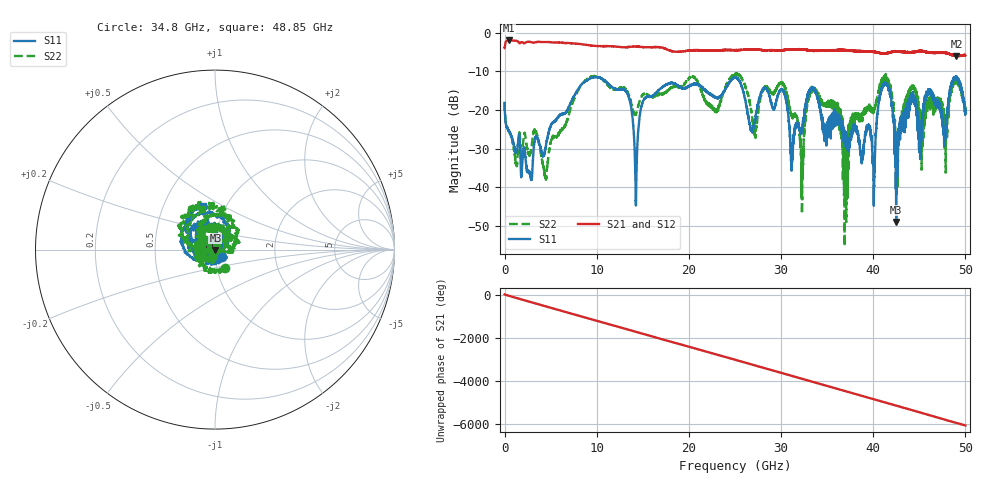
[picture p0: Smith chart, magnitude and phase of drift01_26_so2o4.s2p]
!Created with skrf (http://scikit-rf.org).
# Hz S RI R 50.0
!freq ReS11 ImS11 ReS21 ImS21 ReS12 ImS12 ReS22 ImS22
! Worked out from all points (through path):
!   10001 points, 300 kHz to 50 GHz, reference 50 ohm
!   highest |S21| = -2.00 dB at 490.3 MHz (marker M1); lowest = -6.1 dB at 49.04 GHz (marker M2)
!   group delay of S21, straight-line fit = 336 ps
!   lowest |S11| = -49.1 dB at 42.5 GHz (marker M3), VSWR 1.01, Z = 50.3 - j0.246 ohm
!   |S11| at or under -10 dB: start of sweep to end of sweep
!   |S22| runs from -55.3 to -10.5 dB; largest |S21 - S12| = 0.019
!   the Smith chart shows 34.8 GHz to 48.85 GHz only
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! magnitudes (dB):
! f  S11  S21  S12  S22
! 300 kHz  -18.2  -3.9  -4.0  -17.9
! 490.3 MHz  -25.6  -2.0  -2.0  -25.5
! 4.435 GHz  -29.9  -2.4  -2.4  -37.3
! 8.335 GHz  -13.4  -3.0  -3.0  -13.5
! 13.17 GHz  -15.1  -3.7  -3.7  -14.6
! 14.25 GHz  -43.3  -3.6  -3.6  -21.1
! 16.67 GHz  -15.0  -3.7  -3.7  -15.9
! 25 GHz  -11.6  -4.5  -4.6  -10.9
! 27.15 GHz  -22.7  -4.3  -4.3  -25.8
! 30.2 GHz  -15.1  -4.5  -4.5  -13.3
! 31.14 GHz  -32.6  -4.3  -4.3  -21.3
! 32.25 GHz  -24.9  -4.3  -4.3  -40.4
! 33.34 GHz  -14.3  -4.7  -4.6  -14.6
! 36.04 GHz  -22.3  -4.6  -4.6  -21.5
! 37.03 GHz  -26.9  -4.5  -4.6  -31.0
! 40.06 GHz  -42.2  -4.9  -5.0  -20.3
! 41.67 GHz  -14.4  -5.1  -5.2  -13.0
! 42.5 GHz  -49.1  -4.9  -4.9  -28.9
! 44.14 GHz  -16.9  -5.0  -5.1  -14.4
! 47.73 GHz  -28.4  -5.1  -5.1  -26.5
! 49.04 GHz  -11.6  -6.1  -6.0  -12.4
! 50 GHz  -19.8  -5.9  -5.8  -19.5
